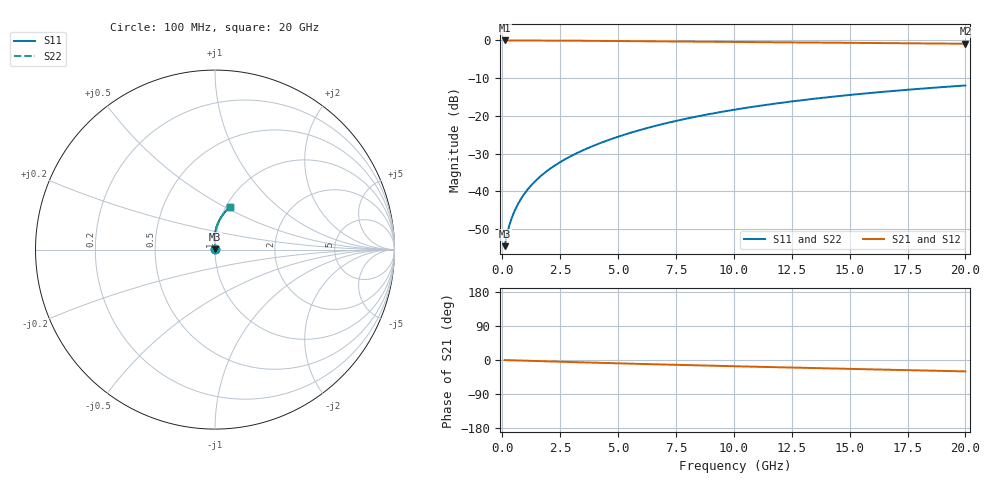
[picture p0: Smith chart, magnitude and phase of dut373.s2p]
! Touchstone file exported from HFSS 2024.1.0
!  File:  C:/UserFiles/LocalFiles/RDL_TSV_Batchsim/temp_RDL_top_373_1779609067.aedt
!  Generated:  03:53:32 PM May 24, 2026
!  Design:  RDL_top
!  Project:  temp_RDL_top_373_1779609067
!  Setup:  Setup1
!  Solution:  Sweep
! Variables:
!  dtsv = 10.80580581um
!  hbump = 3um
!  htsv = 99.97um
!  ldown = 100um
!  lrdl = 427.7um
!  p = 40
!  p1 = 53.84um
!  rhole = 1um
!  t = 450um
!  tdown = 3.915915916um
!  trdl = 4.07um
!  wdown = 15.38538539um
!  wrdl = 28.86um
# GHz S MA R 50.000000
! Terminal data exported
! Port[1] = Box2_T1
! Port[2] = Box2_T2
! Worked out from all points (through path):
!   200 points, 100 MHz to 20 GHz, reference 50 ohm
!   highest |S21| = -0.01 dB at 100 MHz (marker M1); lowest = -0.9 dB at 20 GHz (marker M2)
!   group delay of S21, straight-line fit = 4.11 ps
!   lowest |S11| = -54.5 dB at 100 MHz (marker M3), VSWR 1.00, Z = 50.2 + j0.111 ohm
!   |S11| at or under -10 dB: start of sweep to end of sweep
!   |S22| runs from -54.5 to -11.9 dB; largest |S21 - S12| = 6e-15
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0.1  0.001883 36.1  0.9985 -0.2  0.9985 -0.2  0.001883 36.1
! Gamma 0 0 0 0
! Port Impedance 50 0 50 0
0.2  0.002683 52.5  0.9983 -0.4  0.9983 -0.4  0.002683 52.5
0.3  0.003527 60.7  0.9982 -0.6  0.9982 -0.6  0.003527 60.7
0.4  0.004375 66.1  0.998 -0.8  0.998 -0.8  0.004375 66.1
0.5  0.005234 69.9  0.9979 -0.9  0.9979 -0.9  0.005234 69.9
0.6  0.006106 72.9  0.9978 -1.1  0.9978 -1.1  0.006106 72.9
0.8  0.007888 77.2  0.9975 -1.5  0.9975 -1.5  0.007888 77.2
1.1  0.01064 81.3  0.997 -2.0  0.997 -2.0  0.01064 81.3
1.3  0.01252 83.2  0.9966 -2.4  0.9966 -2.4  0.01252 83.2
1.6  0.01539 85.3  0.9959 -3.0  0.9959 -3.0  0.01539 85.3
2.1  0.02033 87.7  0.9945 -3.9  0.9945 -3.9  0.02033 87.7
2.7  0.02651 89.6  0.9924 -4.9  0.9924 -4.9  0.02652 89.6
3.5  0.03523 91.1  0.989 -6.3  0.989 -6.3  0.03523 91.1
4.2  0.0433 91.8  0.9856 -7.5  0.9856 -7.5  0.0433 91.8
5  0.05299 92.0  0.9815 -8.8  0.9815 -8.8  0.053 92.0
6.8  0.07631 91.1  0.9715 -11.7  0.9715 -11.7  0.07632 91.1
8.4  0.09819 89.2  0.9626 -14.1  0.9626 -14.1  0.0982 89.2
10.1  0.1219 86.7  0.9533 -16.6  0.9533 -16.6  0.122 86.7
11.7  0.1443 84.1  0.9449 -18.9  0.9449 -18.9  0.1443 84.1
13.4  0.1678 81.2  0.9362 -21.2  0.9362 -21.2  0.1678 81.2
16.7  0.2118 75.7  0.9198 -25.7  0.9198 -25.7  0.2118 75.7
20  0.253 70.4  0.9036 -30.1  0.9036 -30.1  0.253 70.4
